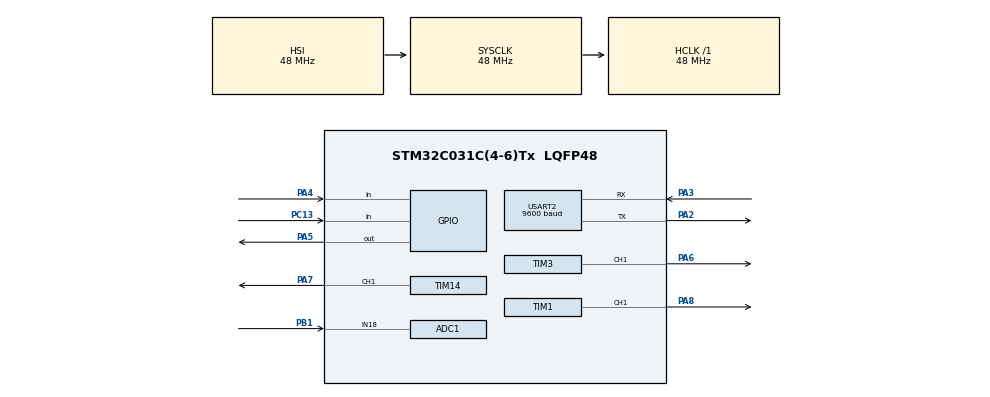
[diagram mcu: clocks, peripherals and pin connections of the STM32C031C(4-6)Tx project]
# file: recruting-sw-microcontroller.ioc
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ADC1.ContinuousConvMode=ENABLE
ADC1.DMAContinuousRequests=ENABLE
ADC1.NbrOfConversionFlag=0
ADC1.SelectedChannel=ADC_CHANNEL_18
ADC1.master=1
Dma.ADC1.0.Direction=DMA_PERIPH_TO_MEMORY
Dma.ADC1.0.EventEnable=DISABLE
Dma.ADC1.0.Instance=DMA1_Channel1
Dma.ADC1.0.MemDataAlignment=DMA_MDATAALIGN_HALFWORD
Dma.ADC1.0.MemInc=DMA_MINC_ENABLE
Dma.ADC1.0.Mode=DMA_NORMAL
Dma.ADC1.0.PeriphDataAlignment=DMA_PDATAALIGN_HALFWORD
Dma.ADC1.0.PeriphInc=DMA_PINC_DISABLE
Dma.ADC1.0.Polarity=HAL_DMAMUX_REQ_GEN_RISING
Dma.ADC1.0.Priority=DMA_PRIORITY_LOW
Dma.ADC1.0.RequestNumber=1
Dma.ADC1.0.SignalID=NONE
Dma.ADC1.0.SyncEnable=DISABLE
Dma.ADC1.0.SyncPolarity=HAL_DMAMUX_SYNC_NO_EVENT
Dma.ADC1.0.SyncRequestNumber=1
Dma.ADC1.0.SyncSignalID=NONE
Dma.Request0=ADC1
Dma.Request1=USART2_RX
Dma.USART2_RX.1.Direction=DMA_PERIPH_TO_MEMORY
Dma.USART2_RX.1.EventEnable=DISABLE
Dma.USART2_RX.1.Instance=DMA1_Channel2
Dma.USART2_RX.1.MemDataAlignment=DMA_MDATAALIGN_BYTE
Dma.USART2_RX.1.MemInc=DMA_MINC_ENABLE
Dma.USART2_RX.1.Mode=DMA_NORMAL
Dma.USART2_RX.1.PeriphDataAlignment=DMA_PDATAALIGN_BYTE
Dma.USART2_RX.1.PeriphInc=DMA_PINC_DISABLE
Dma.USART2_RX.1.Polarity=HAL_DMAMUX_REQ_GEN_RISING
Dma.USART2_RX.1.Priority=DMA_PRIORITY_LOW
Dma.USART2_RX.1.RequestNumber=1
Dma.USART2_RX.1.SignalID=NONE
Dma.USART2_RX.1.SyncEnable=DISABLE
Dma.USART2_RX.1.SyncPolarity=HAL_DMAMUX_SYNC_NO_EVENT
Dma.USART2_RX.1.SyncRequestNumber=1
Dma.USART2_RX.1.SyncSignalID=NONE
Mcu.Family=STM32C0
Mcu.Name=STM32C031C(4-6)Tx
Mcu.Package=LQFP48
NVIC.DMA1_Channel1_IRQn=true\:0\:0\:false\:false\:true\:false\:true\:true
NVIC.DMA1_Channel2_3_IRQn=true\:0\:0\:false\:false\:true\:false\:true\:true
NVIC.USART2_IRQn=true\:0\:0\:false\:false\:true\:true\:true\:true
PA2.Mode=Asynchronous
PA2.Signal=USART2_TX
PA3.Mode=Asynchronous
PA3.Signal=USART2_RX
PA4.Signal=GPIO_Input
PA5.Signal=GPIO_Output
PA6.Signal=S_TIM3_CH1
PA7.Signal=S_TIM14_CH1
PA8.Signal=S_TIM1_CH1
PB1.Signal=SharedAnalog_PB1
PC13.Signal=GPIO_Input
PF0-OSC_IN\ (PF0).Mode=HSE-External-Oscillator
PF0-OSC_IN\ (PF0).Signal=RCC_OSC_IN
PF1-OSC_OUT\ (PF1).Mode=HSE-External-Oscillator
PF1-OSC_OUT\ (PF1).Signal=RCC_OSC_OUT
ProjectManager.HeapSize=0x200
ProjectManager.StackSize=0x400
ProjectManager.TargetToolchain=Makefile
RCC.ADCFreq_Value=48000000
RCC.AHBFreq_Value=48000000
RCC.CortexFreq_Value=48000000
RCC.EXTERNAL_CLOCK_VALUE=12288000
RCC.HCLKFreq_Value=48000000
RCC.HSE_VALUE=8000000
RCC.HSISYSCLKDivider=RCC_HSI_DIV1
RCC.HSI_VALUE=48000000
RCC.LSE_VALUE=32768
RCC.SYSCLKFreq_VALUE=48000000
SH.S_TIM14_CH1.0=TIM14_CH1,PWM Generation1 CH1
SH.S_TIM1_CH1.0=TIM1_CH1,PWM Generation1 CH1
SH.S_TIM3_CH1.0=TIM3_CH1,PWM Generation1 CH1
SH.SharedAnalog_PB1.0=GPIO_Analog
SH.SharedAnalog_PB1.1=ADC1_IN18,IN18
TIM1.Channel-PWM\ Generation1\ CH1=TIM_CHANNEL_1
TIM1.Period=28799
TIM1.Prescaler=999
TIM14.AutoReloadPreload=TIM_AUTORELOAD_PRELOAD_ENABLE
TIM14.Channel=TIM_CHANNEL_1
TIM14.Period=4799
TIM14.Prescaler=999
TIM3.AutoReloadPreload=TIM_AUTORELOAD_PRELOAD_ENABLE
TIM3.Channel-PWM\ Generation1\ CH1=TIM_CHANNEL_1
USART2.BaudRate=9600
USART2.VirtualMode-Asynchronous=VM_ASYNC
VP_TIM14_VS_ClockSourceINT.Mode=Enable_Timer
VP_TIM16_VS_ClockSourceINT.Mode=Enable_Timer
VP_TIM1_VS_ClockSourceINT.Mode=Internal
VP_TIM3_VS_ClockSourceINT.Mode=Internal
board=custom

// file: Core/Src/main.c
/* USER CODE BEGIN Header */
/**
 ******************************************************************************
 * @file           : main.c
 * @brief          : Main program body
 ******************************************************************************
 * @attention
 *
 * Copyright (c) 2025 STMicroelectronics.
 * All rights reserved.
 *
 * This software is licensed under terms that can be found in the LICENSE file
 * in the root directory of this software component.
 * If no LICENSE file comes with this software, it is provided AS-IS.
 *
 ******************************************************************************
 */
/* USER CODE END Header */
#include "main.h"

/* USER CODE BEGIN Includes */
#include "fsm.h"
#include "cli.h"
#include "stdio.h"
#include "string.h"
/* USER CODE END Includes */

/* USER CODE BEGIN PD */
#define MAX_CMD_LEN 16
/* USER CODE END PD */

ADC_HandleTypeDef hadc1;
DMA_HandleTypeDef hdma_adc1;

TIM_HandleTypeDef htim1;
TIM_HandleTypeDef htim3;
TIM_HandleTypeDef htim14;
TIM_HandleTypeDef htim16;

UART_HandleTypeDef huart2;
DMA_HandleTypeDef hdma_usart2_rx;

/* USER CODE BEGIN PV */
enum CLI_CMD cli_cmd;
enum CLI_STATE cli_state;
uint8_t cmd_received = 0;
uint8_t cmd_buffer[MAX_CMD_LEN] = {0};
uint8_t *last_char = &cmd_buffer[MAX_CMD_LEN];
uint8_t *p_current_char = cmd_buffer;
uint32_t prev_millis = 0;
const uint32_t interval_ms = 500;
/* USER CODE END PV */

void SystemClock_Config(void);
static void MX_GPIO_Init(void);
static void MX_DMA_Init(void);
static void MX_USART2_UART_Init(void);
static void MX_ADC1_Init(void);
static void MX_TIM3_Init(void);
static void MX_TIM14_Init(void);
static void MX_TIM1_Init(void);
static void MX_TIM16_Init(void);

/* USER CODE BEGIN 0 */
enum FSM_State state = Init;
uint32_t ana_log_arr[ANA_LOG_LEN] = {0};
/* USER CODE END 0 */

int main(void) {

        /* MCU
         * Configuration--------------------------------------------------------*/

        /* Reset of all peripherals, Initializes the Flash interface and the
         * Systick. */
        HAL_Init();

        /* Configure the system clock */
        SystemClock_Config();

        /* Initialize all configured peripherals */
        MX_GPIO_Init();
        MX_DMA_Init();
        MX_USART2_UART_Init();
        MX_ADC1_Init();
        MX_TIM3_Init();
        MX_TIM14_Init();
        MX_TIM1_Init();
        MX_TIM16_Init();
        /* USER CODE BEGIN 2 */
        HAL_TIM_PWM_Start(&htim1, TIM_CHANNEL_1);
        HAL_TIM_PWM_Start(&htim3, TIM_CHANNEL_1);
        HAL_TIM_PWM_Start(&htim14, TIM_CHANNEL_1);

        HAL_UART_Receive_IT(&huart2, cmd_buffer, (size_t)1);

        /* USER CODE END 2 */

        /* Infinite loop */
        /* USER CODE BEGIN WHILE */
        while (1) {
                // Finite State Machine on every frame
                FSM(&state, &huart2,&cli_state, &cli_cmd, &hadc1, ana_log_arr);

                // CLI logic
                if (cli_state == CLI_ON && cmd_received) {
                        if (strcmp((char *)cmd_buffer, "raw") == 0)
                                cli_cmd = CLI_RAW;
                        else if (strcmp((char *)cmd_buffer, "avg") == 0)
                                cli_cmd = CLI_MOVING_AVERAGE;
                        else if (strcmp((char *)cmd_buffer, "noise") == 0)
                                cli_cmd = CLI_NOISE;

                        // Reset variables to receive another command.
                        memset(cmd_buffer, 0, strlen((char *)cmd_buffer));
                        p_current_char = cmd_buffer;
                        cmd_received = 0;
                        HAL_UART_Receive_IT(&huart2, cmd_buffer, (size_t)1);
                }
        }
        /* USER CODE END WHILE */

}

void SystemClock_Config(void) {
        RCC_OscInitTypeDef RCC_OscInitStruct = {0};
        RCC_ClkInitTypeDef RCC_ClkInitStruct = {0};

        __HAL_FLASH_SET_LATENCY(FLASH_LATENCY_1);

        /** Initializes the RCC Oscillators according to the specified
         * parameters in the RCC_OscInitTypeDef structure.
         */
        RCC_OscInitStruct.OscillatorType = RCC_OSCILLATORTYPE_HSI;
        RCC_OscInitStruct.HSIState = RCC_HSI_ON;
        RCC_OscInitStruct.HSIDiv = RCC_HSI_DIV1;
        RCC_OscInitStruct.HSICalibrationValue = RCC_HSICALIBRATION_DEFAULT;
        if (HAL_RCC_OscConfig(&RCC_OscInitStruct) != HAL_OK) {
                Error_Handler();
        }

        /** Initializes the CPU, AHB and APB buses clocks
         */
        RCC_ClkInitStruct.ClockType =
            RCC_CLOCKTYPE_HCLK | RCC_CLOCKTYPE_SYSCLK | RCC_CLOCKTYPE_PCLK1;
        RCC_ClkInitStruct.SYSCLKSource = RCC_SYSCLKSOURCE_HSI;
        RCC_ClkInitStruct.SYSCLKDivider = RCC_SYSCLK_DIV1;
        RCC_ClkInitStruct.AHBCLKDivider = RCC_HCLK_DIV1;
        RCC_ClkInitStruct.APB1CLKDivider = RCC_APB1_DIV1;

        if (HAL_RCC_ClockConfig(&RCC_ClkInitStruct, FLASH_LATENCY_1) !=
            HAL_OK) {
                Error_Handler();
        }
}

static void MX_ADC1_Init(void) {

        ADC_ChannelConfTypeDef sConfig = {0};

        /** Configure the global features of the ADC (Clock, Resolution, Data
         * Alignment and number of conversion)
         */
        hadc1.Instance = ADC1;
        hadc1.Init.ClockPrescaler = ADC_CLOCK_SYNC_PCLK_DIV2;
        hadc1.Init.Resolution = ADC_RESOLUTION_12B;
        hadc1.Init.DataAlign = ADC_DATAALIGN_RIGHT;
        hadc1.Init.ScanConvMode = ADC_SCAN_SEQ_FIXED;
        hadc1.Init.EOCSelection = ADC_EOC_SINGLE_CONV;
        hadc1.Init.LowPowerAutoWait = DISABLE;
        hadc1.Init.LowPowerAutoPowerOff = DISABLE;
        hadc1.Init.ContinuousConvMode = ENABLE;
        hadc1.Init.NbrOfConversion = 1;
        hadc1.Init.ExternalTrigConv = ADC_SOFTWARE_START;
        hadc1.Init.ExternalTrigConvEdge = ADC_EXTERNALTRIGCONVEDGE_NONE;
        hadc1.Init.DMAContinuousRequests = ENABLE;
        hadc1.Init.Overrun = ADC_OVR_DATA_PRESERVED;
        hadc1.Init.SamplingTimeCommon1 = ADC_SAMPLETIME_1CYCLE_5;
        hadc1.Init.OversamplingMode = DISABLE;
        hadc1.Init.TriggerFrequencyMode = ADC_TRIGGER_FREQ_HIGH;
        if (HAL_ADC_Init(&hadc1) != HAL_OK) {
                Error_Handler();
        }

        /** Configure Regular Channel
         */
        sConfig.Channel = ADC_CHANNEL_18;
        sConfig.Rank = ADC_RANK_CHANNEL_NUMBER;
        if (HAL_ADC_ConfigChannel(&hadc1, &sConfig) != HAL_OK) {
                Error_Handler();
        }
}

static void MX_TIM1_Init(void) {

        TIM_ClockConfigTypeDef sClockSourceConfig = {0};
        TIM_MasterConfigTypeDef sMasterConfig = {0};
        TIM_OC_InitTypeDef sConfigOC = {0};
        TIM_BreakDeadTimeConfigTypeDef sBreakDeadTimeConfig = {0};

        htim1.Instance = TIM1;
        htim1.Init.Prescaler = 999;
        htim1.Init.CounterMode = TIM_COUNTERMODE_UP;
        htim1.Init.Period = 28799;
        htim1.Init.ClockDivision = TIM_CLOCKDIVISION_DIV1;
        htim1.Init.RepetitionCounter = 0;
        htim1.Init.AutoReloadPreload = TIM_AUTORELOAD_PRELOAD_DISABLE;
        if (HAL_TIM_Base_Init(&htim1) != HAL_OK) {
                Error_Handler();
        }
        sClockSourceConfig.ClockSource = TIM_CLOCKSOURCE_INTERNAL;
        if (HAL_TIM_ConfigClockSource(&htim1, &sClockSourceConfig) != HAL_OK) {
                Error_Handler();
        }
        if (HAL_TIM_PWM_Init(&htim1) != HAL_OK) {
                Error_Handler();
        }
        sMasterConfig.MasterOutputTrigger = TIM_TRGO_RESET;
        sMasterConfig.MasterOutputTrigger2 = TIM_TRGO2_RESET;
        sMasterConfig.MasterSlaveMode = TIM_MASTERSLAVEMODE_DISABLE;
        if (HAL_TIMEx_MasterConfigSynchronization(&htim1, &sMasterConfig) !=
            HAL_OK) {
                Error_Handler();
        }
        sConfigOC.OCMode = TIM_OCMODE_PWM1;
        sConfigOC.Pulse = 0;
        sConfigOC.OCPolarity = TIM_OCPOLARITY_HIGH;
        sConfigOC.OCNPolarity = TIM_OCNPOLARITY_HIGH;
        sConfigOC.OCFastMode = TIM_OCFAST_DISABLE;
        sConfigOC.OCIdleState = TIM_OCIDLESTATE_RESET;
        sConfigOC.OCNIdleState = TIM_OCNIDLESTATE_RESET;
        if (HAL_TIM_PWM_ConfigChannel(&htim1, &sConfigOC, TIM_CHANNEL_1) !=
            HAL_OK) {
                Error_Handler();
        }
        sBreakDeadTimeConfig.OffStateRunMode = TIM_OSSR_DISABLE;
        sBreakDeadTimeConfig.OffStateIDLEMode = TIM_OSSI_DISABLE;
        sBreakDeadTimeConfig.LockLevel = TIM_LOCKLEVEL_OFF;
        sBreakDeadTimeConfig.DeadTime = 0;
        sBreakDeadTimeConfig.BreakState = TIM_BREAK_DISABLE;
        sBreakDeadTimeConfig.BreakPolarity = TIM_BREAKPOLARITY_HIGH;
        sBreakDeadTimeConfig.BreakFilter = 0;
        sBreakDeadTimeConfig.BreakAFMode = TIM_BREAK_AFMODE_INPUT;
        sBreakDeadTimeConfig.Break2State = TIM_BREAK2_DISABLE;
        sBreakDeadTimeConfig.Break2Polarity = TIM_BREAK2POLARITY_HIGH;
        sBreakDeadTimeConfig.Break2Filter = 0;
        sBreakDeadTimeConfig.Break2AFMode = TIM_BREAK_AFMODE_INPUT;
        sBreakDeadTimeConfig.AutomaticOutput = TIM_AUTOMATICOUTPUT_DISABLE;
        if (HAL_TIMEx_ConfigBreakDeadTime(&htim1, &sBreakDeadTimeConfig) !=
            HAL_OK) {
                Error_Handler();
        }
        HAL_TIM_MspPostInit(&htim1);
}

static void MX_TIM3_Init(void) {

        TIM_ClockConfigTypeDef sClockSourceConfig = {0};
        TIM_MasterConfigTypeDef sMasterConfig = {0};
        TIM_OC_InitTypeDef sConfigOC = {0};

        htim3.Instance = TIM3;
        htim3.Init.Prescaler = 0;
        htim3.Init.CounterMode = TIM_COUNTERMODE_UP;
        htim3.Init.Period = 65535;
        htim3.Init.ClockDivision = TIM_CLOCKDIVISION_DIV1;
        htim3.Init.AutoReloadPreload = TIM_AUTORELOAD_PRELOAD_ENABLE;
        if (HAL_TIM_Base_Init(&htim3) != HAL_OK) {
                Error_Handler();
        }
        sClockSourceConfig.ClockSource = TIM_CLOCKSOURCE_INTERNAL;
        if (HAL_TIM_ConfigClockSource(&htim3, &sClockSourceConfig) != HAL_OK) {
                Error_Handler();
        }
        if (HAL_TIM_PWM_Init(&htim3) != HAL_OK) {
                Error_Handler();
        }
        sMasterConfig.MasterOutputTrigger = TIM_TRGO_RESET;
        sMasterConfig.MasterSlaveMode = TIM_MASTERSLAVEMODE_DISABLE;
        if (HAL_TIMEx_MasterConfigSynchronization(&htim3, &sMasterConfig) !=
            HAL_OK) {
                Error_Handler();
        }
        sConfigOC.OCMode = TIM_OCMODE_PWM1;
        sConfigOC.Pulse = 0;
        sConfigOC.OCPolarity = TIM_OCPOLARITY_HIGH;
        sConfigOC.OCFastMode = TIM_OCFAST_DISABLE;
        if (HAL_TIM_PWM_ConfigChannel(&htim3, &sConfigOC, TIM_CHANNEL_1) !=
            HAL_OK) {
                Error_Handler();
        }
        HAL_TIM_MspPostInit(&htim3);
}

static void MX_TIM14_Init(void) {

        TIM_OC_InitTypeDef sConfigOC = {0};

        htim14.Instance = TIM14;
        htim14.Init.Prescaler = 999;
        htim14.Init.CounterMode = TIM_COUNTERMODE_UP;
        htim14.Init.Period = 4799;
        htim14.Init.ClockDivision = TIM_CLOCKDIVISION_DIV1;
        htim14.Init.AutoReloadPreload = TIM_AUTORELOAD_PRELOAD_ENABLE;
        if (HAL_TIM_Base_Init(&htim14) != HAL_OK) {
                Error_Handler();
        }
        if (HAL_TIM_PWM_Init(&htim14) != HAL_OK) {
                Error_Handler();
        }
        sConfigOC.OCMode = TIM_OCMODE_PWM1;
        sConfigOC.Pulse = 0;
        sConfigOC.OCPolarity = TIM_OCPOLARITY_HIGH;
        sConfigOC.OCFastMode = TIM_OCFAST_DISABLE;
        if (HAL_TIM_PWM_ConfigChannel(&htim14, &sConfigOC, TIM_CHANNEL_1) !=
            HAL_OK) {
                Error_Handler();
        }
        HAL_TIM_MspPostInit(&htim14);
}

static void MX_TIM16_Init(void) {

        htim16.Instance = TIM16;
        htim16.Init.Prescaler = 0;
        htim16.Init.CounterMode = TIM_COUNTERMODE_UP;
        htim16.Init.Period = 65535;
        htim16.Init.ClockDivision = TIM_CLOCKDIVISION_DIV1;
        htim16.Init.RepetitionCounter = 0;
        htim16.Init.AutoReloadPreload = TIM_AUTORELOAD_PRELOAD_DISABLE;
        if (HAL_TIM_Base_Init(&htim16) != HAL_OK) {
                Error_Handler();
        }
}

static void MX_USART2_UART_Init(void) {

        huart2.Instance = USART2;
        huart2.Init.BaudRate = 9600;
        huart2.Init.WordLength = UART_WORDLENGTH_8B;
        huart2.Init.StopBits = UART_STOPBITS_1;
        huart2.Init.Parity = UART_PARITY_NONE;
        huart2.Init.Mode = UART_MODE_TX_RX;
        huart2.Init.HwFlowCtl = UART_HWCONTROL_NONE;
        huart2.Init.OverSampling = UART_OVERSAMPLING_16;
        huart2.Init.OneBitSampling = UART_ONE_BIT_SAMPLE_DISABLE;
        huart2.Init.ClockPrescaler = UART_PRESCALER_DIV1;
        huart2.AdvancedInit.AdvFeatureInit = UART_ADVFEATURE_NO_INIT;
        if (HAL_UART_Init(&huart2) != HAL_OK) {
                Error_Handler();
        }
}

static void MX_DMA_Init(void) {

        /* DMA controller clock enable */
        __HAL_RCC_DMA1_CLK_ENABLE();

        /* DMA interrupt init */
        /* DMA1_Channel1_IRQn interrupt configuration */
        HAL_NVIC_SetPriority(DMA1_Channel1_IRQn, 0, 0);
        HAL_NVIC_EnableIRQ(DMA1_Channel1_IRQn);
        /* DMA1_Channel2_3_IRQn interrupt configuration */
        HAL_NVIC_SetPriority(DMA1_Channel2_3_IRQn, 0, 0);
        HAL_NVIC_EnableIRQ(DMA1_Channel2_3_IRQn);
}

static void MX_GPIO_Init(void) {
        GPIO_InitTypeDef GPIO_InitStruct = {0};

        /* GPIO Ports Clock Enable */
        __HAL_RCC_GPIOC_CLK_ENABLE();
        __HAL_RCC_GPIOF_CLK_ENABLE();
        __HAL_RCC_GPIOA_CLK_ENABLE();
        __HAL_RCC_GPIOB_CLK_ENABLE();

        /*Configure GPIO pin Output Level */
        HAL_GPIO_WritePin(GPIOA, GPIO_PIN_5, GPIO_PIN_RESET);

        /*Configure GPIO pin : PC13 */
        GPIO_InitStruct.Pin = GPIO_PIN_13;
        GPIO_InitStruct.Mode = GPIO_MODE_INPUT;
        GPIO_InitStruct.Pull = GPIO_NOPULL;
        HAL_GPIO_Init(GPIOC, &GPIO_InitStruct);

        /*Configure GPIO pin : PA4 */
        GPIO_InitStruct.Pin = GPIO_PIN_4;
        GPIO_InitStruct.Mode = GPIO_MODE_INPUT;
        GPIO_InitStruct.Pull = GPIO_NOPULL;
        HAL_GPIO_Init(GPIOA, &GPIO_InitStruct);

        /*Configure GPIO pin : PA5 */
        GPIO_InitStruct.Pin = GPIO_PIN_5;
        GPIO_InitStruct.Mode = GPIO_MODE_AF_PP;
        GPIO_InitStruct.Pull = GPIO_NOPULL;
        GPIO_InitStruct.Speed = GPIO_SPEED_FREQ_LOW;
        GPIO_InitStruct.Alternate = GPIO_AF5_TIM1;
        HAL_GPIO_Init(GPIOA, &GPIO_InitStruct);

}

/* USER CODE BEGIN 4 */

void HAL_UART_RxCpltCallback(UART_HandleTypeDef *huart) {
        // As long as the character received isn't a newline/carriage return AND
        // we haven't reached the end of our cmd buffer, then restart the
        // interrupt to receive another character.
        //
        if (*p_current_char != '\n' && *p_current_char != '\r' &&
            p_current_char != last_char) {
                HAL_UART_Receive_IT(huart, ++p_current_char, (size_t)1);
        } else {
                *p_current_char = '\0';
                cmd_received = 1;
        }
}

void HAL_ADC_ConvCpltCallback(ADC_HandleTypeDef *hadc) {}

void HAL_TIM_PeriodElapsedCallback(TIM_HandleTypeDef *htim) {
        // if (htim->Instance == TIM14) {
        //         if (state == Error)
        //                 HAL_GPIO_TogglePin(GPIOA, GPIO_PIN_5);
        //         HAL_UART_Transmit(&huart2, "hello\r\n", 12, 1000);
        // }
}
/* USER CODE END 4 */

void Error_Handler(void) {
        /* USER CODE BEGIN Error_Handler_Debug */
        /* User can add his own implementation to report the HAL error return
         * state */
        __disable_irq();
        while (1) {
        }
        /* USER CODE END Error_Handler_Debug */
}
#ifdef USE_FULL_ASSERT
/**
 * @brief  Reports the name of the source file and the source line number
 *         where the assert_param error has occurred.
 * @param  file: pointer to the source file name
 * @param  line: assert_param error line source number
 * @retval None
 */
void assert_failed(uint8_t *file, uint32_t line) {
        /* USER CODE BEGIN 6 */
        /* User can add his own implementation to report the file name and line
           number, ex: printf("Wrong parameters value: file %s on line %d\r\n",
           file, line) */
        /* USER CODE END 6 */
}
#endif /* USE_FULL_ASSERT */
